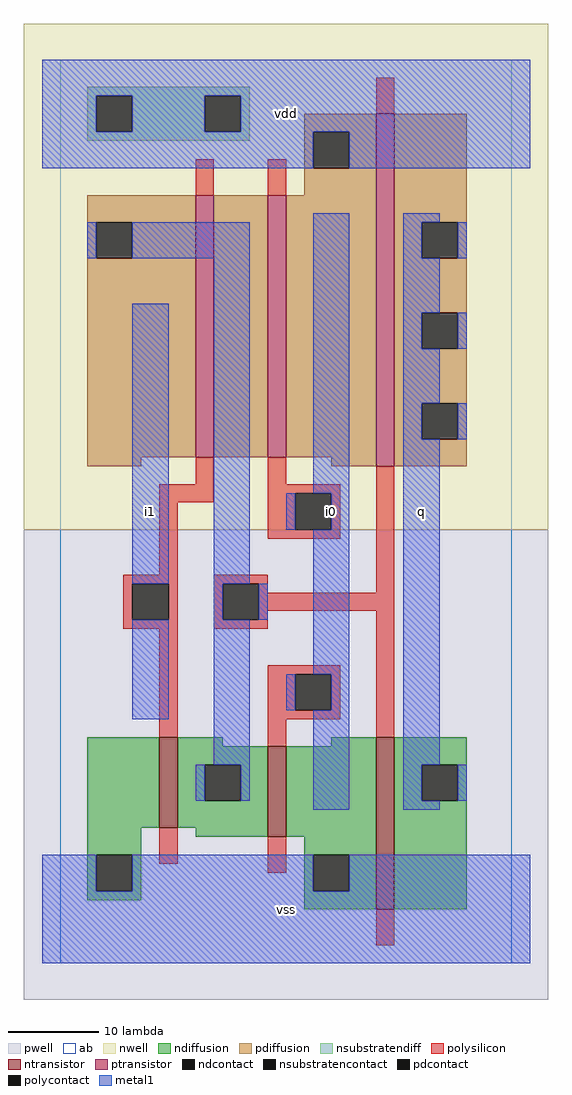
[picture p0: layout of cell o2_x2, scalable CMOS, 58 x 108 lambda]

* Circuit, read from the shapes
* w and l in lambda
.subckt o2_x2 i0 i1 q vdd vss
M1 n1 i1 vss VSUBS nfet w=10 l=2
M2 vss i0 n1 VSUBS nfet w=10 l=2
M3 q n1 vss VSUBS nfet w=19 l=2
M4 n2 i1 n1 vdd pfet w=29 l=2
M5 vdd i0 n2 vdd pfet w=29 l=2
M6 q n1 vdd vdd pfet w=39 l=2
.ends

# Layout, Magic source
magic
tech scmos
<< ab >>
rect 0 0 50 100
<< pwell >>
rect -4 -4 54 48
<< nwell >>
rect -4 48 54 104
<< polysilicon >>
rect 35 94 37 98
rect 15 85 17 89
rect 23 85 25 89
rect 15 53 17 56
rect 11 51 17 53
rect 23 53 25 56
rect 23 52 31 53
rect 11 43 13 51
rect 23 48 26 52
rect 30 48 31 52
rect 23 47 31 48
rect 7 42 13 43
rect 7 38 8 42
rect 12 38 13 42
rect 7 37 13 38
rect 17 42 23 43
rect 17 38 18 42
rect 22 41 23 42
rect 35 41 37 55
rect 22 39 37 41
rect 22 38 23 39
rect 17 37 23 38
rect 11 25 13 37
rect 23 32 31 33
rect 23 28 26 32
rect 30 28 31 32
rect 23 27 31 28
rect 23 24 25 27
rect 35 25 37 39
rect 11 11 13 15
rect 23 10 25 14
rect 35 2 37 6
<< ndiffusion >>
rect 3 15 11 25
rect 13 24 18 25
rect 30 24 35 25
rect 13 22 23 24
rect 13 18 16 22
rect 20 18 23 22
rect 13 15 23 18
rect 3 12 9 15
rect 3 8 4 12
rect 8 8 9 12
rect 15 14 23 15
rect 25 14 35 24
rect 27 12 35 14
rect 3 7 9 8
rect 27 8 28 12
rect 32 8 35 12
rect 27 6 35 8
rect 37 22 45 25
rect 37 18 40 22
rect 44 18 45 22
rect 37 6 45 18
<< pdiffusion >>
rect 27 92 35 94
rect 27 88 28 92
rect 32 88 35 92
rect 27 85 35 88
rect 3 82 15 85
rect 3 78 4 82
rect 8 78 15 82
rect 3 56 15 78
rect 17 56 23 85
rect 25 56 35 85
rect 3 55 9 56
rect 30 55 35 56
rect 37 82 45 94
rect 37 78 40 82
rect 44 78 45 82
rect 37 72 45 78
rect 37 68 40 72
rect 44 68 45 72
rect 37 62 45 68
rect 37 58 40 62
rect 44 58 45 62
rect 37 55 45 58
<< metal1 >>
rect -2 96 52 100
rect -2 92 4 96
rect 8 92 16 96
rect 20 92 52 96
rect -2 88 28 92
rect 32 88 52 92
rect 3 78 4 82
rect 8 78 21 82
rect 8 42 12 73
rect 8 27 12 38
rect 17 42 21 78
rect 28 52 32 83
rect 25 48 26 52
rect 30 48 32 52
rect 17 38 18 42
rect 22 38 23 42
rect 17 22 21 38
rect 28 32 32 48
rect 25 28 26 32
rect 30 28 32 32
rect 15 18 16 22
rect 20 18 21 22
rect 28 17 32 28
rect 38 82 42 83
rect 38 78 40 82
rect 44 78 45 82
rect 38 72 42 78
rect 38 68 40 72
rect 44 68 45 72
rect 38 62 42 68
rect 38 58 40 62
rect 44 58 45 62
rect 38 22 42 58
rect 38 18 40 22
rect 44 18 45 22
rect 38 17 42 18
rect -2 8 4 12
rect 8 8 28 12
rect 32 8 52 12
rect -2 0 52 8
<< ntransistor >>
rect 11 15 13 25
rect 23 14 25 24
rect 35 6 37 25
<< ptransistor >>
rect 15 56 17 85
rect 23 56 25 85
rect 35 55 37 94
<< polycontact >>
rect 26 48 30 52
rect 8 38 12 42
rect 18 38 22 42
rect 26 28 30 32
<< ndcontact >>
rect 16 18 20 22
rect 4 8 8 12
rect 28 8 32 12
rect 40 18 44 22
<< pdcontact >>
rect 28 88 32 92
rect 4 78 8 82
rect 40 78 44 82
rect 40 68 44 72
rect 40 58 44 62
<< nsubstratencontact >>
rect 4 92 8 96
rect 16 92 20 96
<< nsubstratendiff >>
rect 3 96 21 97
rect 3 92 4 96
rect 8 92 16 96
rect 20 92 21 96
rect 3 91 21 92
<< labels >>
rlabel metal1 10 50 10 50 6 i1
rlabel metal1 25 6 25 6 6 vss
rlabel metal1 30 50 30 50 6 i0
rlabel metal1 25 94 25 94 6 vdd
rlabel metal1 40 50 40 50 6 q
<< end >>
